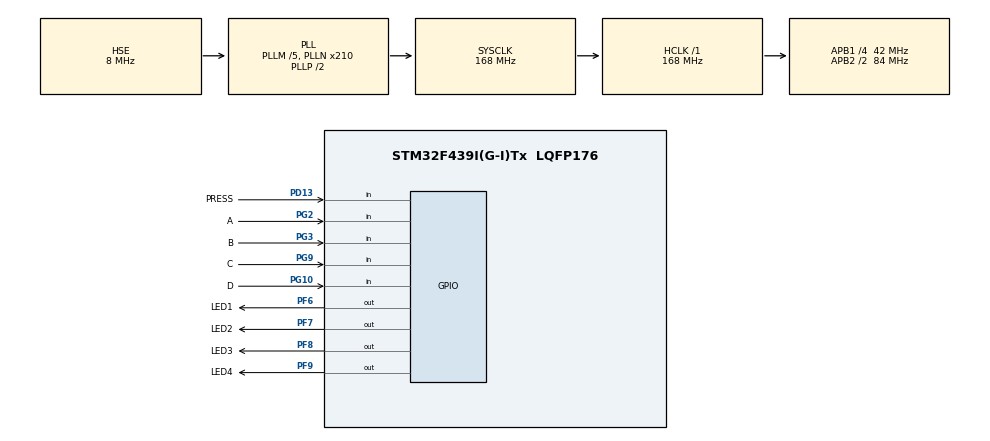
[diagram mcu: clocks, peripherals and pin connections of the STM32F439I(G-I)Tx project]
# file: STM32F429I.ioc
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Mcu.Family=STM32F4
Mcu.Name=STM32F439I(G-I)Tx
Mcu.Package=LQFP176
NVIC.PriorityGroup=NVIC_PRIORITYGROUP_4
PD13.GPIO_Label=PRESS
PD13.GPIO_Mode=GPIO_MODE_INPUT
PD13.GPIO_PuPd=GPIO_PULLUP
PD13.Signal=GPIO_Input
PF6.GPIO_Label=LED1
PF6.GPIO_ModeDefaultOutputPP=GPIO_MODE_OUTPUT_PP
PF6.GPIO_PuPd=GPIO_NOPULL
PF6.GPIO_Speed=GPIO_SPEED_LOW
PF6.Signal=GPIO_Output
PF7.GPIO_Label=LED2
PF7.GPIO_ModeDefaultOutputPP=GPIO_MODE_OUTPUT_PP
PF7.GPIO_PuPd=GPIO_NOPULL
PF7.GPIO_Speed=GPIO_SPEED_LOW
PF7.Signal=GPIO_Output
PF8.GPIO_Label=LED3
PF8.GPIO_ModeDefaultOutputPP=GPIO_MODE_OUTPUT_PP
PF8.GPIO_PuPd=GPIO_NOPULL
PF8.GPIO_Speed=GPIO_SPEED_LOW
PF8.Signal=GPIO_Output
PF9.GPIO_Label=LED4
PF9.GPIO_ModeDefaultOutputPP=GPIO_MODE_OUTPUT_PP
PF9.GPIO_PuPd=GPIO_NOPULL
PF9.GPIO_Speed=GPIO_SPEED_LOW
PF9.Signal=GPIO_Output
PG10.GPIO_Label=D
PG10.GPIO_Mode=GPIO_MODE_INPUT
PG10.GPIO_PuPd=GPIO_PULLUP
PG10.Signal=GPIO_Input
PG2.GPIO_Label=A
PG2.GPIO_Mode=GPIO_MODE_INPUT
PG2.GPIO_PuPd=GPIO_PULLUP
PG2.Signal=GPIO_Input
PG3.GPIO_Label=B
PG3.GPIO_Mode=GPIO_MODE_INPUT
PG3.GPIO_PuPd=GPIO_PULLUP
PG3.Signal=GPIO_Input
PG9.GPIO_Label=C
PG9.GPIO_Mode=GPIO_MODE_INPUT
PG9.GPIO_PuPd=GPIO_PULLUP
PG9.Signal=GPIO_Input
PH0/OSC_IN.Mode=HSE-External-Oscillator
PH0/OSC_IN.Signal=RCC_OSC_IN
PH1/OSC_OUT.Mode=HSE-External-Oscillator
PH1/OSC_OUT.Signal=RCC_OSC_OUT
ProjectManager.TargetToolchain=MDK-ARM V5
RCC.48MHZClocksFreq_Value=84000000
RCC.AHBFreq_Value=168000000
RCC.APB1CLKDivider=RCC_HCLK_DIV4
RCC.APB1Freq_Value=42000000
RCC.APB1TimFreq_Value=84000000
RCC.APB2CLKDivider=RCC_HCLK_DIV2
RCC.APB2Freq_Value=84000000
RCC.APB2TimFreq_Value=168000000
RCC.CortexFreq_Value=168000000
RCC.HCLKFreq_Value=168000000
RCC.HSE_VALUE=8000000
RCC.HSI_VALUE=16000000
RCC.LSE_VALUE=32768
RCC.PLLM=5
RCC.PLLN=210
RCC.PLLSourceVirtual=RCC_PLLSOURCE_HSE
RCC.SYSCLKFreq_VALUE=168000000
RCC.SYSCLKSource=RCC_SYSCLKSOURCE_PLLCLK
RCC.VCOOutputFreq_Value=336000000
board=STM32F429I

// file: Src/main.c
/**
  ******************************************************************************
  * File Name          : main.c
  * Description        : Main program body
  ******************************************************************************
  *
  * COPYRIGHT(c) 2015 STMicroelectronics
  *
  * Redistribution and use in source and binary forms, with or without modification,
  * are permitted provided that the following conditions are met:
  *   1. Redistributions of source code must retain the above copyright notice,
  *      this list of conditions and the following disclaimer.
  *   2. Redistributions in binary form must reproduce the above copyright notice,
  *      this list of conditions and the following disclaimer in the documentation
  *      and/or other materials provided with the distribution.
  *   3. Neither the name of STMicroelectronics nor the names of its contributors
  *      may be used to endorse or promote products derived from this software
  *      without specific prior written permission.
  *
  * THIS SOFTWARE IS PROVIDED BY THE COPYRIGHT HOLDERS AND CONTRIBUTORS "AS IS"
  * AND ANY EXPRESS OR IMPLIED WARRANTIES, INCLUDING, BUT NOT LIMITED TO, THE
  * IMPLIED WARRANTIES OF MERCHANTABILITY AND FITNESS FOR A PARTICULAR PURPOSE ARE
  * DISCLAIMED. IN NO EVENT SHALL THE COPYRIGHT HOLDER OR CONTRIBUTORS BE LIABLE
  * FOR ANY DIRECT, INDIRECT, INCIDENTAL, SPECIAL, EXEMPLARY, OR CONSEQUENTIAL
  * DAMAGES (INCLUDING, BUT NOT LIMITED TO, PROCUREMENT OF SUBSTITUTE GOODS OR
  * SERVICES; LOSS OF USE, DATA, OR PROFITS; OR BUSINESS INTERRUPTION) HOWEVER
  * CAUSED AND ON ANY THEORY OF LIABILITY, WHETHER IN CONTRACT, STRICT LIABILITY,
  * OR TORT (INCLUDING NEGLIGENCE OR OTHERWISE) ARISING IN ANY WAY OUT OF THE USE
  * OF THIS SOFTWARE, EVEN IF ADVISED OF THE POSSIBILITY OF SUCH DAMAGE.
  *
  ******************************************************************************
  */
#include "stm32f4xx_hal.h"
#include "gpio.h"

/* USER CODE BEGIN PV */
/* Private variables ---------------------------------------------------------*/

/* USER CODE END PV */

void SystemClock_Config(void);

/* USER CODE BEGIN PFP */
/* Private function prototypes -----------------------------------------------*/

/* USER CODE END PFP */

int main(void)
{

  /* MCU Configuration----------------------------------------------------------*/

  /* Reset of all peripherals, Initializes the Flash interface and the Systick. */
  HAL_Init();

  /* Configure the system clock */
  SystemClock_Config();

  /* Initialize all configured peripherals */
  MX_GPIO_Init();

  /* Infinite loop */
  while (1)
  {

  /* USER CODE BEGIN 3 */
		/* A - LED1 */
		if(HAL_GPIO_ReadPin(GPIOG,GPIO_PIN_2) == GPIO_PIN_RESET)
			HAL_GPIO_WritePin(GPIOF,GPIO_PIN_6,GPIO_PIN_SET);
		else
			HAL_GPIO_WritePin(GPIOF,GPIO_PIN_6,GPIO_PIN_RESET);
		/* B - LED2 */
		if(HAL_GPIO_ReadPin(GPIOG,GPIO_PIN_3) == GPIO_PIN_RESET)
			HAL_GPIO_WritePin(GPIOF,GPIO_PIN_7,GPIO_PIN_SET);
		else
			HAL_GPIO_WritePin(GPIOF,GPIO_PIN_7,GPIO_PIN_RESET);
		/* C - LED3 */
		if(HAL_GPIO_ReadPin(GPIOG,GPIO_PIN_9) == GPIO_PIN_RESET)
			HAL_GPIO_WritePin(GPIOF,GPIO_PIN_8,GPIO_PIN_SET);
		else
			HAL_GPIO_WritePin(GPIOF,GPIO_PIN_8,GPIO_PIN_RESET);
		/* D - LED4 */
		if(HAL_GPIO_ReadPin(GPIOG,GPIO_PIN_10) == GPIO_PIN_RESET)
			HAL_GPIO_WritePin(GPIOF,GPIO_PIN_9,GPIO_PIN_SET);
		else
			HAL_GPIO_WritePin(GPIOF,GPIO_PIN_9,GPIO_PIN_RESET);
		/* PRESS - LED1 LED2 LED3 LED4 */
		if(HAL_GPIO_ReadPin(GPIOD,GPIO_PIN_13) == GPIO_PIN_RESET)
		{
			HAL_GPIO_WritePin(GPIOF,GPIO_PIN_6,GPIO_PIN_SET);
			HAL_GPIO_WritePin(GPIOF,GPIO_PIN_7,GPIO_PIN_SET);
			HAL_GPIO_WritePin(GPIOF,GPIO_PIN_8,GPIO_PIN_SET);
			HAL_GPIO_WritePin(GPIOF,GPIO_PIN_9,GPIO_PIN_SET);
		}
		else
		{
			HAL_GPIO_WritePin(GPIOF,GPIO_PIN_6,GPIO_PIN_RESET);
			HAL_GPIO_WritePin(GPIOF,GPIO_PIN_7,GPIO_PIN_RESET);
			HAL_GPIO_WritePin(GPIOF,GPIO_PIN_8,GPIO_PIN_RESET);
			HAL_GPIO_WritePin(GPIOF,GPIO_PIN_9,GPIO_PIN_RESET);
		}

  }
  /* USER CODE END 3 */

}

/** System Clock Configuration
*/
void SystemClock_Config(void)
{

  RCC_OscInitTypeDef RCC_OscInitStruct;
  RCC_ClkInitTypeDef RCC_ClkInitStruct;

  __PWR_CLK_ENABLE();

  __HAL_PWR_VOLTAGESCALING_CONFIG(PWR_REGULATOR_VOLTAGE_SCALE1);

  RCC_OscInitStruct.OscillatorType = RCC_OSCILLATORTYPE_HSE;
  RCC_OscInitStruct.HSEState = RCC_HSE_ON;
  RCC_OscInitStruct.PLL.PLLState = RCC_PLL_ON;
  RCC_OscInitStruct.PLL.PLLSource = RCC_PLLSOURCE_HSE;
  RCC_OscInitStruct.PLL.PLLM = 5;
  RCC_OscInitStruct.PLL.PLLN = 210;
  RCC_OscInitStruct.PLL.PLLP = RCC_PLLP_DIV2;
  RCC_OscInitStruct.PLL.PLLQ = 4;
  HAL_RCC_OscConfig(&RCC_OscInitStruct);

  RCC_ClkInitStruct.ClockType = RCC_CLOCKTYPE_SYSCLK|RCC_CLOCKTYPE_PCLK1
                              |RCC_CLOCKTYPE_PCLK2;
  RCC_ClkInitStruct.SYSCLKSource = RCC_SYSCLKSOURCE_PLLCLK;
  RCC_ClkInitStruct.AHBCLKDivider = RCC_SYSCLK_DIV1;
  RCC_ClkInitStruct.APB1CLKDivider = RCC_HCLK_DIV4;
  RCC_ClkInitStruct.APB2CLKDivider = RCC_HCLK_DIV2;
  HAL_RCC_ClockConfig(&RCC_ClkInitStruct, FLASH_LATENCY_5);

  HAL_SYSTICK_Config(HAL_RCC_GetHCLKFreq()/1000);

  HAL_SYSTICK_CLKSourceConfig(SYSTICK_CLKSOURCE_HCLK);

  /* SysTick_IRQn interrupt configuration */
  HAL_NVIC_SetPriority(SysTick_IRQn, 0, 0);
}

/************************ (C) COPYRIGHT STMicroelectronics *****END OF FILE****/
